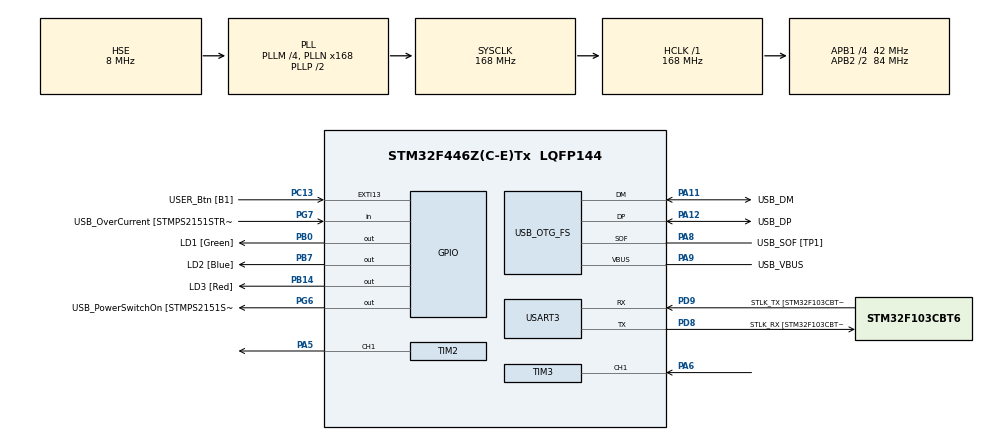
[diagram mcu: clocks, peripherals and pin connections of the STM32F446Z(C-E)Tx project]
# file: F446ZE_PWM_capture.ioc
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Mcu.Family=STM32F4
Mcu.Name=STM32F446Z(C-E)Tx
Mcu.Package=LQFP144
NVIC.PriorityGroup=NVIC_PRIORITYGROUP_4
NVIC.TIM2_IRQn=true\:0\:0\:false\:false\:true\:true\:true\:true
NVIC.TIM3_IRQn=true\:0\:0\:false\:false\:true\:true\:true\:true
PA10.GPIO_Label=USB_ID
PA10.Signal=USB_OTG_FS_ID
PA11.GPIO_Label=USB_DM
PA11.Mode=Device_Only
PA11.Signal=USB_OTG_FS_DM
PA12.GPIO_Label=USB_DP
PA12.Mode=Device_Only
PA12.Signal=USB_OTG_FS_DP
PA13.GPIO_Label=TMS
PA13.Mode=Serial_Wire
PA13.Signal=SYS_JTMS-SWDIO
PA14.GPIO_Label=TCK
PA14.Mode=Serial_Wire
PA14.Signal=SYS_JTCK-SWCLK
PA5.Signal=S_TIM2_CH1_ETR
PA6.Signal=S_TIM3_CH1
PA8.GPIO_Label=USB_SOF [TP1]
PA8.Mode=Activate_SOF_FS
PA8.Signal=USB_OTG_FS_SOF
PA9.GPIO_Label=USB_VBUS
PA9.Mode=Activate_VBUS
PA9.Signal=USB_OTG_FS_VBUS
PB0.GPIO_Label=LD1 [Green]
PB0.Signal=GPIO_Output
PB14.GPIO_Label=LD3 [Red]
PB14.Signal=GPIO_Output
PB7.GPIO_Label=LD2 [Blue]
PB7.Signal=GPIO_Output
PC13.GPIO_Label=USER_Btn [B1]
PC13.Signal=GPXTI13
PC14-OSC32_IN.Mode=LSE-External-Clock-Source
PC14-OSC32_IN.Signal=RCC_OSC32_IN
PC15-OSC32_OUT.Mode=LSE-External-Clock-Source
PC15-OSC32_OUT.Signal=RCC_OSC32_OUT
PD8.GPIO_Label=STLK_RX [STM32F103CBT6_PA3]
PD8.Mode=Asynchronous
PD8.Signal=USART3_TX
PD9.GPIO_Label=STLK_TX [STM32F103CBT6_PA2]
PD9.Mode=Asynchronous
PD9.Signal=USART3_RX
PG6.GPIO_Label=USB_PowerSwitchOn [STMPS2151STR_EN]
PG6.Signal=GPIO_Output
PG7.GPIO_Label=USB_OverCurrent [STMPS2151STR_FAULT]
PG7.Signal=GPIO_Input
PH0-OSC_IN.GPIO_Label=MCO [STM32F103CBT6_PA8]
PH0-OSC_IN.Mode=HSE-External-Oscillator
PH0-OSC_IN.Signal=RCC_OSC_IN
PH1-OSC_OUT.Mode=HSE-External-Oscillator
PH1-OSC_OUT.Signal=RCC_OSC_OUT
ProjectManager.HeapSize=0x200
ProjectManager.StackSize=0x400
ProjectManager.TargetToolchain=STM32CubeIDE
RCC.48MHZClocksFreq_Value=24000000
RCC.AHBFreq_Value=168000000
RCC.APB1CLKDivider=RCC_HCLK_DIV4
RCC.APB1Freq_Value=42000000
RCC.APB1TimFreq_Value=84000000
RCC.APB2CLKDivider=RCC_HCLK_DIV2
RCC.APB2Freq_Value=84000000
RCC.APB2TimFreq_Value=168000000
RCC.CortexFreq_Value=168000000
RCC.HCLKFreq_Value=168000000
RCC.HSE_VALUE=8000000
RCC.HSI_VALUE=16000000
RCC.PLLM=4
RCC.PLLMUL=RCC_PLL_MUL9
RCC.PLLN=168
RCC.PLLQ=7
RCC.PRESCALERUSB=RCC_USBCLKSOURCE_PLL_DIV1_5
RCC.SYSCLKFreq_VALUE=168000000
RCC.SYSCLKSource=RCC_SYSCLKSOURCE_PLLCLK
RCC.SYSCLKSourceVirtual=RCC_SYSCLKSOURCE_PLLCLK
RCC.USBFreq_Value=48000000
RCC.VCOOutputFreq_Value=336000000
SH.S_TIM2_CH1_ETR.0=TIM2_CH1,PWM Generation1 CH1
SH.S_TIM3_CH1.0=TIM3_CH1,Input_Capture1_from_TI1
TIM2.AutoReloadPreload=TIM_AUTORELOAD_PRELOAD_ENABLE
TIM2.Channel-PWM\ Generation1\ CH1=TIM_CHANNEL_1
TIM2.OCPolarity_1=TIM_OCPOLARITY_HIGH
TIM2.Period=1000-1
TIM2.Prescaler=8400-1
TIM2.Pulse-PWM\ Generation1\ CH1=500
TIM3.AutoReloadPreload=TIM_AUTORELOAD_PRELOAD_ENABLE
TIM3.Channel-Input_Capture1_from_TI1=TIM_CHANNEL_1
TIM3.Channel-Input_Capture2_from_TI1_63=TIM_CHANNEL_2
TIM3.ICPolarity_CH2=TIM_INPUTCHANNELPOLARITY_FALLING
TIM3.Period=10000-1
TIM3.Prescaler=8400-1
USART3.VirtualMode=VM_ASYNC
USB_OTG_FS.VirtualMode=Device_Only
VP_TIM3_VS_indirect_ch1.Mode=Input_Capture2_from_TI1_63
board=NUCLEO-F446ZE

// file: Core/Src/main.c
/* USER CODE BEGIN Header */
/**
  ******************************************************************************
  * @file           : main.c
  * @brief          : Main program body
  ******************************************************************************
  * @attention
  *
  * Copyright (c) 2024 STMicroelectronics.
  * All rights reserved.
  *
  * This software is licensed under terms that can be found in the LICENSE file
  * in the root directory of this software component.
  * If no LICENSE file comes with this software, it is provided AS-IS.
  *
  ******************************************************************************
  */
/* USER CODE END Header */
#include "main.h"

TIM_HandleTypeDef htim2;
TIM_HandleTypeDef htim3;

UART_HandleTypeDef huart3;

PCD_HandleTypeDef hpcd_USB_OTG_FS;

/* USER CODE BEGIN PV */
uint32_t Period, Pulse, pulse_cnt;
float frequency, duty_cycle;

/* USER CODE END PV */

void SystemClock_Config(void);
static void MX_GPIO_Init(void);
static void MX_USART3_UART_Init(void);
static void MX_USB_OTG_FS_PCD_Init(void);
static void MX_TIM3_Init(void);
static void MX_TIM2_Init(void);

int main(void)
{

  /* MCU Configuration--------------------------------------------------------*/

  /* Reset of all peripherals, Initializes the Flash interface and the Systick. */
  HAL_Init();

  /* Configure the system clock */
  SystemClock_Config();

  /* Initialize all configured peripherals */
  MX_GPIO_Init();
  MX_USART3_UART_Init();
  MX_USB_OTG_FS_PCD_Init();
  MX_TIM3_Init();
  MX_TIM2_Init();
  /* USER CODE BEGIN 2 */
  HAL_GPIO_WritePin(GPIOB, LD2_Pin, SET);

  HAL_TIM_PWM_Start_IT(&htim2, TIM_CHANNEL_1);

  HAL_TIM_IC_Start_IT(&htim3, TIM_CHANNEL_1);
  HAL_TIM_IC_Start_IT(&htim3, TIM_CHANNEL_2);
  /* USER CODE END 2 */

  /* Infinite loop */
  while (1)
  {

  }
}

void SystemClock_Config(void)
{
  RCC_OscInitTypeDef RCC_OscInitStruct = {0};
  RCC_ClkInitTypeDef RCC_ClkInitStruct = {0};

  /** Configure the main internal regulator output voltage
  */
  __HAL_RCC_PWR_CLK_ENABLE();
  __HAL_PWR_VOLTAGESCALING_CONFIG(PWR_REGULATOR_VOLTAGE_SCALE1);

  /** Initializes the RCC Oscillators according to the specified parameters
  * in the RCC_OscInitTypeDef structure.
  */
  RCC_OscInitStruct.OscillatorType = RCC_OSCILLATORTYPE_HSE;
  RCC_OscInitStruct.HSEState = RCC_HSE_ON;
  RCC_OscInitStruct.PLL.PLLState = RCC_PLL_ON;
  RCC_OscInitStruct.PLL.PLLSource = RCC_PLLSOURCE_HSE;
  RCC_OscInitStruct.PLL.PLLM = 4;
  RCC_OscInitStruct.PLL.PLLN = 168;
  RCC_OscInitStruct.PLL.PLLP = RCC_PLLP_DIV2;
  RCC_OscInitStruct.PLL.PLLQ = 7;
  RCC_OscInitStruct.PLL.PLLR = 2;
  if (HAL_RCC_OscConfig(&RCC_OscInitStruct) != HAL_OK)
  {
    Error_Handler();
  }

  /** Initializes the CPU, AHB and APB buses clocks
  */
  RCC_ClkInitStruct.ClockType = RCC_CLOCKTYPE_HCLK|RCC_CLOCKTYPE_SYSCLK
                              |RCC_CLOCKTYPE_PCLK1|RCC_CLOCKTYPE_PCLK2;
  RCC_ClkInitStruct.SYSCLKSource = RCC_SYSCLKSOURCE_PLLCLK;
  RCC_ClkInitStruct.AHBCLKDivider = RCC_SYSCLK_DIV1;
  RCC_ClkInitStruct.APB1CLKDivider = RCC_HCLK_DIV4;
  RCC_ClkInitStruct.APB2CLKDivider = RCC_HCLK_DIV2;

  if (HAL_RCC_ClockConfig(&RCC_ClkInitStruct, FLASH_LATENCY_5) != HAL_OK)
  {
    Error_Handler();
  }
}

static void MX_TIM2_Init(void)
{

  TIM_MasterConfigTypeDef sMasterConfig = {0};
  TIM_OC_InitTypeDef sConfigOC = {0};

  htim2.Instance = TIM2;
  htim2.Init.Prescaler = 8400-1;
  htim2.Init.CounterMode = TIM_COUNTERMODE_UP;
  htim2.Init.Period = 1000-1;
  htim2.Init.ClockDivision = TIM_CLOCKDIVISION_DIV1;
  htim2.Init.AutoReloadPreload = TIM_AUTORELOAD_PRELOAD_ENABLE;
  if (HAL_TIM_PWM_Init(&htim2) != HAL_OK)
  {
    Error_Handler();
  }
  sMasterConfig.MasterOutputTrigger = TIM_TRGO_RESET;
  sMasterConfig.MasterSlaveMode = TIM_MASTERSLAVEMODE_DISABLE;
  if (HAL_TIMEx_MasterConfigSynchronization(&htim2, &sMasterConfig) != HAL_OK)
  {
    Error_Handler();
  }
  sConfigOC.OCMode = TIM_OCMODE_PWM1;
  sConfigOC.Pulse = 500;
  sConfigOC.OCPolarity = TIM_OCPOLARITY_HIGH;
  sConfigOC.OCFastMode = TIM_OCFAST_DISABLE;
  if (HAL_TIM_PWM_ConfigChannel(&htim2, &sConfigOC, TIM_CHANNEL_1) != HAL_OK)
  {
    Error_Handler();
  }
  HAL_TIM_MspPostInit(&htim2);

}

static void MX_TIM3_Init(void)
{

  TIM_MasterConfigTypeDef sMasterConfig = {0};
  TIM_IC_InitTypeDef sConfigIC = {0};

  htim3.Instance = TIM3;
  htim3.Init.Prescaler = 8400-1;
  htim3.Init.CounterMode = TIM_COUNTERMODE_UP;
  htim3.Init.Period = 10000-1;
  htim3.Init.ClockDivision = TIM_CLOCKDIVISION_DIV1;
  htim3.Init.AutoReloadPreload = TIM_AUTORELOAD_PRELOAD_ENABLE;
  if (HAL_TIM_IC_Init(&htim3) != HAL_OK)
  {
    Error_Handler();
  }
  sMasterConfig.MasterOutputTrigger = TIM_TRGO_RESET;
  sMasterConfig.MasterSlaveMode = TIM_MASTERSLAVEMODE_DISABLE;
  if (HAL_TIMEx_MasterConfigSynchronization(&htim3, &sMasterConfig) != HAL_OK)
  {
    Error_Handler();
  }
  sConfigIC.ICPolarity = TIM_INPUTCHANNELPOLARITY_RISING;
  sConfigIC.ICSelection = TIM_ICSELECTION_DIRECTTI;
  sConfigIC.ICPrescaler = TIM_ICPSC_DIV1;
  sConfigIC.ICFilter = 0;
  if (HAL_TIM_IC_ConfigChannel(&htim3, &sConfigIC, TIM_CHANNEL_1) != HAL_OK)
  {
    Error_Handler();
  }
  sConfigIC.ICPolarity = TIM_INPUTCHANNELPOLARITY_FALLING;
  sConfigIC.ICSelection = TIM_ICSELECTION_INDIRECTTI;
  if (HAL_TIM_IC_ConfigChannel(&htim3, &sConfigIC, TIM_CHANNEL_2) != HAL_OK)
  {
    Error_Handler();
  }

}

static void MX_USART3_UART_Init(void)
{

  huart3.Instance = USART3;
  huart3.Init.BaudRate = 115200;
  huart3.Init.WordLength = UART_WORDLENGTH_8B;
  huart3.Init.StopBits = UART_STOPBITS_1;
  huart3.Init.Parity = UART_PARITY_NONE;
  huart3.Init.Mode = UART_MODE_TX_RX;
  huart3.Init.HwFlowCtl = UART_HWCONTROL_NONE;
  huart3.Init.OverSampling = UART_OVERSAMPLING_16;
  if (HAL_UART_Init(&huart3) != HAL_OK)
  {
    Error_Handler();
  }

}

static void MX_USB_OTG_FS_PCD_Init(void)
{

  hpcd_USB_OTG_FS.Instance = USB_OTG_FS;
  hpcd_USB_OTG_FS.Init.dev_endpoints = 6;
  hpcd_USB_OTG_FS.Init.speed = PCD_SPEED_FULL;
  hpcd_USB_OTG_FS.Init.dma_enable = DISABLE;
  hpcd_USB_OTG_FS.Init.phy_itface = PCD_PHY_EMBEDDED;
  hpcd_USB_OTG_FS.Init.Sof_enable = ENABLE;
  hpcd_USB_OTG_FS.Init.low_power_enable = DISABLE;
  hpcd_USB_OTG_FS.Init.lpm_enable = DISABLE;
  hpcd_USB_OTG_FS.Init.vbus_sensing_enable = ENABLE;
  hpcd_USB_OTG_FS.Init.use_dedicated_ep1 = DISABLE;
  if (HAL_PCD_Init(&hpcd_USB_OTG_FS) != HAL_OK)
  {
    Error_Handler();
  }

}

static void MX_GPIO_Init(void)
{
  GPIO_InitTypeDef GPIO_InitStruct = {0};

  /* GPIO Ports Clock Enable */
  __HAL_RCC_GPIOC_CLK_ENABLE();
  __HAL_RCC_GPIOH_CLK_ENABLE();
  __HAL_RCC_GPIOA_CLK_ENABLE();
  __HAL_RCC_GPIOB_CLK_ENABLE();
  __HAL_RCC_GPIOD_CLK_ENABLE();
  __HAL_RCC_GPIOG_CLK_ENABLE();

  /*Configure GPIO pin Output Level */
  HAL_GPIO_WritePin(GPIOB, LD1_Pin|LD3_Pin|LD2_Pin, GPIO_PIN_RESET);

  /*Configure GPIO pin Output Level */
  HAL_GPIO_WritePin(USB_PowerSwitchOn_GPIO_Port, USB_PowerSwitchOn_Pin, GPIO_PIN_RESET);

  /*Configure GPIO pin : USER_Btn_Pin */
  GPIO_InitStruct.Pin = USER_Btn_Pin;
  GPIO_InitStruct.Mode = GPIO_MODE_IT_RISING;
  GPIO_InitStruct.Pull = GPIO_NOPULL;
  HAL_GPIO_Init(USER_Btn_GPIO_Port, &GPIO_InitStruct);

  /*Configure GPIO pins : LD1_Pin LD3_Pin LD2_Pin */
  GPIO_InitStruct.Pin = LD1_Pin|LD3_Pin|LD2_Pin;
  GPIO_InitStruct.Mode = GPIO_MODE_OUTPUT_PP;
  GPIO_InitStruct.Pull = GPIO_NOPULL;
  GPIO_InitStruct.Speed = GPIO_SPEED_FREQ_LOW;
  HAL_GPIO_Init(GPIOB, &GPIO_InitStruct);

  /*Configure GPIO pin : USB_PowerSwitchOn_Pin */
  GPIO_InitStruct.Pin = USB_PowerSwitchOn_Pin;
  GPIO_InitStruct.Mode = GPIO_MODE_OUTPUT_PP;
  GPIO_InitStruct.Pull = GPIO_NOPULL;
  GPIO_InitStruct.Speed = GPIO_SPEED_FREQ_LOW;
  HAL_GPIO_Init(USB_PowerSwitchOn_GPIO_Port, &GPIO_InitStruct);

  /*Configure GPIO pin : USB_OverCurrent_Pin */
  GPIO_InitStruct.Pin = USB_OverCurrent_Pin;
  GPIO_InitStruct.Mode = GPIO_MODE_INPUT;
  GPIO_InitStruct.Pull = GPIO_NOPULL;
  HAL_GPIO_Init(USB_OverCurrent_GPIO_Port, &GPIO_InitStruct);

}

/* USER CODE BEGIN 4 */
void HAL_TIM_IC_CaptureCallback(TIM_HandleTypeDef *htim)
{
	if (htim->Instance == TIM3)
	{
		if (htim->Channel == HAL_TIM_ACTIVE_CHANNEL_1)
		{
			Period = HAL_TIM_ReadCapturedValue(htim, TIM_CHANNEL_1);
			htim->Instance->CNT = 0;
		}

		if (htim->Channel == HAL_TIM_ACTIVE_CHANNEL_2)
		{
			Pulse = HAL_TIM_ReadCapturedValue(htim, TIM_CHANNEL_2);
			duty_cycle = (float)Pulse / Period * 100;
			frequency = 100000 / (float)Period;
		}
	}
}

/**
  * @brief  this function called when a PWM pulse is completed
  * @param  TIM handle
  * @retval None
  */
void HAL_TIM_PWM_PulseFinishedCallback(TIM_HandleTypeDef *htim)
{
	if (htim->Instance == TIM2)
	{
		if(htim->Channel == HAL_TIM_ACTIVE_CHANNEL_1)
		{
			pulse_cnt++;
		}
	}
}

/* USER CODE END 4 */

void Error_Handler(void)
{
  __disable_irq();
  while (1)
  {
  }
}
